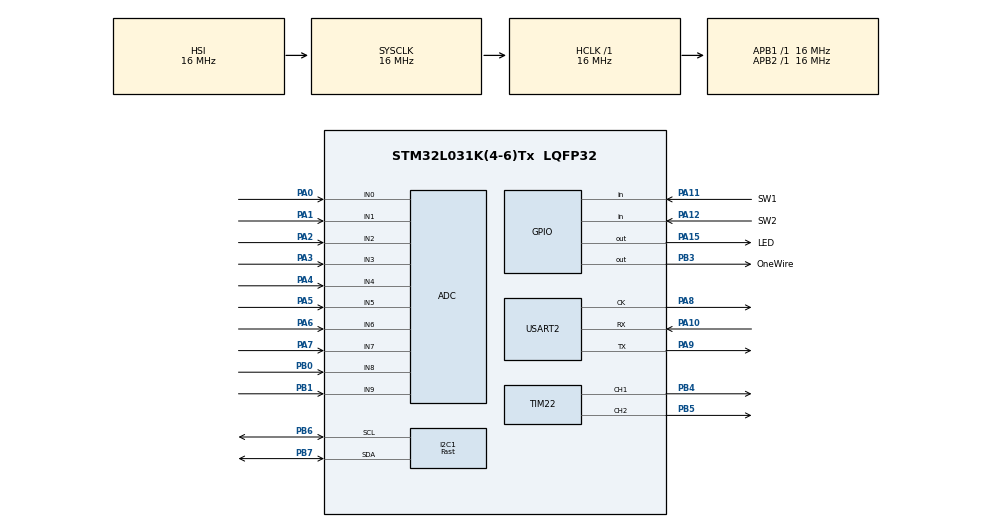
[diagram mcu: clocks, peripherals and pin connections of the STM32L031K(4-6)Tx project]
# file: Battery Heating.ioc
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ADC.ClockPrescaler=ADC_CLOCK_ASYNC_DIV8
ADC.ContinuousConvMode=ENABLE
ADC.DMAContinuousRequests=ENABLE
ADC.EOCSelection=ADC_EOC_SEQ_CONV
ADC.SamplingTime=ADC_SAMPLETIME_79CYCLES_5
Dma.ADC.0.Direction=DMA_PERIPH_TO_MEMORY
Dma.ADC.0.Instance=DMA1_Channel1
Dma.ADC.0.MemDataAlignment=DMA_MDATAALIGN_HALFWORD
Dma.ADC.0.MemInc=DMA_MINC_ENABLE
Dma.ADC.0.Mode=DMA_CIRCULAR
Dma.ADC.0.PeriphDataAlignment=DMA_PDATAALIGN_HALFWORD
Dma.ADC.0.PeriphInc=DMA_PINC_DISABLE
Dma.ADC.0.Priority=DMA_PRIORITY_LOW
Dma.Request0=ADC
I2C1.I2C_Speed_Mode=I2C_Fast
I2C1.OwnAddress=0x30
I2C1.Speed=300
I2C1.Timing=0x00300625
Mcu.Family=STM32L0
Mcu.Name=STM32L031K(4-6)Tx
Mcu.Package=LQFP32
NVIC.DMA1_Channel1_IRQn=true\:0\:0\:false\:false\:true\:false\:true\:true
NVIC.I2C1_IRQn=true\:0\:0\:false\:false\:true\:true\:true\:true
PA0-CK_IN.Mode=IN0
PA0-CK_IN.Signal=ADC_IN0
PA1.Mode=IN1
PA1.Signal=ADC_IN1
PA10.Mode=Synchronous
PA10.Signal=USART2_RX
PA11.GPIO_Label=SW1
PA11.Signal=GPIO_Input
PA12.GPIO_Label=SW2
PA12.Signal=GPIO_Input
PA13.Mode=Serial_Wire
PA13.Signal=SYS_SWDIO
PA14.Mode=Serial_Wire
PA14.Signal=SYS_SWCLK
PA15.GPIO_Label=LED
PA15.Signal=GPIO_Output
PA2.Mode=IN2
PA2.Signal=ADC_IN2
PA3.Mode=IN3
PA3.Signal=ADC_IN3
PA4.Mode=IN4
PA4.Signal=ADC_IN4
PA5.Mode=IN5
PA5.Signal=ADC_IN5
PA6.Mode=IN6
PA6.Signal=ADC_IN6
PA7.Mode=IN7
PA7.Signal=ADC_IN7
PA8.Mode=Synchronous
PA8.Signal=USART2_CK
PA9.Mode=Synchronous
PA9.Signal=USART2_TX
PB0.Mode=IN8
PB0.Signal=ADC_IN8
PB1.Mode=IN9
PB1.Signal=ADC_IN9
PB3.GPIO_Label=OneWire
PB3.Signal=GPIO_Output
PB4.Signal=S_TIM22_CH1
PB5.Signal=S_TIM22_CH2
PB6.Mode=I2C
PB6.Signal=I2C1_SCL
PB7.Mode=I2C
PB7.Signal=I2C1_SDA
ProjectManager.HeapSize=0x200
ProjectManager.StackSize=0x400
ProjectManager.TargetToolchain=Makefile
RCC.AHBFreq_Value=16000000
RCC.APB1Freq_Value=16000000
RCC.APB1TimFreq_Value=16000000
RCC.APB2Freq_Value=16000000
RCC.APB2TimFreq_Value=16000000
RCC.HCLKFreq_Value=16000000
RCC.HSE_VALUE=8000000
RCC.HSI16_VALUE=16000000
RCC.HSI_VALUE=16000000
RCC.LSE_VALUE=32768
RCC.MSI_VALUE=2097000
RCC.SYSCLKFreq_VALUE=16000000
RCC.SYSCLKSource=RCC_SYSCLKSOURCE_HSI
RCC.VCOOutputFreq_Value=48000000
SH.S_TIM22_CH1.0=TIM22_CH1,PWM Generation1 CH1
SH.S_TIM22_CH2.0=TIM22_CH2,PWM Generation2 CH2
TIM22.Channel-PWM\ Generation1\ CH1=TIM_CHANNEL_1
TIM22.Channel-PWM\ Generation2\ CH2=TIM_CHANNEL_2
USART2.VirtualMode-Synchronous=VM_SYNC
VP_ADC_TempSens_Input.Mode=IN-TempSens
VP_TIM22_VS_ClockSourceINT.Mode=Internal
board=custom

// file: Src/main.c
/* USER CODE BEGIN Header */
/**
  ******************************************************************************
  * @file           : main.c
  * @brief          : Main program body
  ******************************************************************************
  * @attention
  *
  * Copyright (c) 2025 STMicroelectronics.
  * All rights reserved.
  *
  * This software is licensed under terms that can be found in the LICENSE file
  * in the root directory of this software component.
  * If no LICENSE file comes with this software, it is provided AS-IS.
  *
  ******************************************************************************
  */
/* USER CODE END Header */
#include "main.h"

/* USER CODE BEGIN Includes */

#include <stdio.h>
#include <stdint.h>

//#include "serial.h"

/* USER CODE END Includes */

/* USER CODE BEGIN PD */

/* Definition of ADCx conversions data table size */
#define ADC_CONVERTED_DATA_BUFFER_SIZE   ((uint32_t)  11)   /* Size of array aADCxConvertedData[] */
#define SUPPLY_VOLTAGE 3.3  //voltage supplied to the adc (used in calculations)
#define ADC_RESOLUTION 4096 //adc resolution (max value of a 12b number)

#define COUNTOF(__BUFFER__)   (sizeof(__BUFFER__) / sizeof(*(__BUFFER__)))
/* Size of Transmission buffer */
#define TXBUFFERSIZE                      (COUNTOF(aTxBuffer))
/* Size of Reception buffer */
#define RXBUFFERSIZE                      TXBUFFERSIZE

/* USER CODE END Includes */
/* USER CODE END PD */

ADC_HandleTypeDef hadc;
DMA_HandleTypeDef hdma_adc;

I2C_HandleTypeDef hi2c1;

TIM_HandleTypeDef htim22;

USART_HandleTypeDef husart2;

/* USER CODE BEGIN PV */

//max value the output pmw is clamped to (change the number after the * to set as a percentage of 100% duty cycle)
uint16_t max_pwm_value = (uint16_t)65535*0.5;

//uint16_t i = 0;

//temperature threshold for heating
float tempThres = 30.0;

/* Variable containing ADC conversions data */
static uint16_t   aADCxConvertedData[ADC_CONVERTED_DATA_BUFFER_SIZE];

uint8_t count = 0;

/* Buffer used for transmission */
uint8_t aTxBuffer[4];

/* Buffer used for reception */
uint8_t aRxBuffer[4];

// buffer for requested memory address
uint8_t memRequest = 0;

/* USER CODE END PV */

void SystemClock_Config(void);
static void MX_GPIO_Init(void);
static void MX_DMA_Init(void);
static void MX_ADC_Init(void);
static void MX_I2C1_Init(void);
static void MX_TIM22_Init(void);
static void MX_USART2_Init(void);
/* USER CODE BEGIN PFP */

void active() {
  HAL_GPIO_WritePin(LED_GPIO_Port, LED_Pin, GPIO_PIN_SET);
}
void inactive() {
  HAL_GPIO_WritePin(LED_GPIO_Port, LED_Pin, GPIO_PIN_RESET);
}

//needed to get printf working (redirects subfunction to send char* to UART)
#define PUTCHAR_PROTOTYPE int __io_putchar(int ch)

//Clamp function
int max_pwm(uint16_t input) {
  if (input >= max_pwm_value) {
    input = max_pwm_value;
  }
  return input;
}

//map for future use
long map(long x, long in_min, long in_max, long out_min, long out_max) {
  return (x - in_min) * (out_max - out_min) / (in_max - in_min) + out_min;
}

// === TEMP FUNCTIONS
//conversion function (adc reading -> voltage float)
float adcToVoltage(uint16_t reading) {
  return reading * SUPPLY_VOLTAGE / ADC_RESOLUTION;
}

//conversion function for MCP9700T (voltage float -> temperature)
float voltageToMCP(float volt) {
  return (volt-0.5)/0.01;
}

// === I2C FUNCTIONS
__IO uint32_t     Transfer_Direction = 0;
__IO uint32_t     Xfer_Complete = 0;

/* Buffer used for transmission */
uint8_t aTxBuffer[4];

/* Buffer used for reception */
uint8_t aRxBuffer[4];

/* USER CODE END PFP */

/* USER CODE BEGIN 0 */

//define for adc error (dont think its needed)
void HAL_ADC_ErrorCallback(ADC_HandleTypeDef *hadc) {
  printf("ADC Experienced an error :(");
}

/* USER CODE END 0 */

int main(void)
{

  /* MCU Configuration--------------------------------------------------------*/

  /* Reset of all peripherals, Initializes the Flash interface and the Systick. */
  HAL_Init();

  /* USER CODE BEGIN Init */
  aRxBuffer[0]=0x00;
  aRxBuffer[1]=0x00;
  aRxBuffer[2]=0x00;
  aRxBuffer[3]=0x00;
  aTxBuffer[0]=0xAA;
  aTxBuffer[1]=0xBB;
  aTxBuffer[2]=0xCC;
  aTxBuffer[3]=0xDD;
  /* USER CODE END Init */

  /* Configure the system clock */
  SystemClock_Config();

  /* Initialize all configured peripherals */
  MX_GPIO_Init();
  MX_DMA_Init();
  MX_ADC_Init();
  MX_I2C1_Init();
  MX_TIM22_Init();
  MX_USART2_Init();
  /* USER CODE BEGIN 2 */

  active();

  //start the ADC/DMA cycle
  if (HAL_ADC_Start_DMA(&hadc,
                        (uint32_t *)aADCxConvertedData,
                        ADC_CONVERTED_DATA_BUFFER_SIZE
                        ) != HAL_OK)
  {
    Error_Handler();
  }

  // I2C start listening
  if(HAL_I2C_EnableListen_IT(&hi2c1) != HAL_OK)
  {
    /* Transfer error in reception process */
    Error_Handler();
  }

  // Init pwm
  HAL_TIM_PWM_Init(&htim22);

  // Start PWM generation on both channels
  HAL_TIM_PWM_Start(&htim22, TIM_CHANNEL_1);
  HAL_TIM_PWM_Start(&htim22, TIM_CHANNEL_2);

  // Set initial duty cycles
  // __HAL_TIM_SET_COMPARE(&htim22, TIM_CHANNEL_1, 0);
  // __HAL_TIM_SET_COMPARE(&htim22, TIM_CHANNEL_2, 65535);

  inactive();

  /* USER CODE END 2 */

  /* Infinite loop */
  while (1)
  {

    /* USER CODE BEGIN 3 */

    active();

    //clear screen (only works on linux)
    // printf("\033[2J");

    if (Xfer_Complete ==1)
    {
      HAL_Delay(1);
      /*##- Put I2C peripheral in listen mode process ###########################*/
      if(HAL_I2C_EnableListen_IT(&hi2c1) != HAL_OK)
      {
        /* Transfer error in reception process */
        Error_Handler();
      }
      Xfer_Complete =0;
    }

    /*
    for (uint8_t i = 0; i < ADC_CONVERTED_DATA_BUFFER_SIZE; i++) {
      printf("Reading (%d): %d \n", i, aADCxConvertedData[i]);
      printf("Voltage: %d mV \n", (uint16_t)(adcToVoltage(aADCxConvertedData[i])*1000));
    }
    */

    //convert ADC buffer to temperatures
    float temp1 = voltageToMCP(adcToVoltage(aADCxConvertedData[4]));
    float temp2 = voltageToMCP(adcToVoltage(aADCxConvertedData[5]));
    float temp3 = voltageToMCP(adcToVoltage(aADCxConvertedData[6]));

    //average out temperature
    float tempAve = (temp1+temp2+temp3)/3;

    //print ave
    // printf("Temp average: %d °C\n", (uint16_t)tempAve);

    //very basic bang bang algo
    if (tempAve <= tempThres) {
      // printf("Heater ON\n");
      __HAL_TIM_SET_COMPARE(&htim22, TIM_CHANNEL_1, max_pwm_value);
      __HAL_TIM_SET_COMPARE(&htim22, TIM_CHANNEL_2, max_pwm_value);
    } else {
      __HAL_TIM_SET_COMPARE(&htim22, TIM_CHANNEL_1, 0);
      __HAL_TIM_SET_COMPARE(&htim22, TIM_CHANNEL_2, 0);
    }

    //printf("Looped i=%d\n", i);

    //i += 100;

    inactive();
    //HAL_Delay(100);
  }
  /* USER CODE END 3 */
}

void SystemClock_Config(void)
{
  RCC_OscInitTypeDef RCC_OscInitStruct = {0};
  RCC_ClkInitTypeDef RCC_ClkInitStruct = {0};
  RCC_PeriphCLKInitTypeDef PeriphClkInit = {0};

  /** Configure the main internal regulator output voltage
  */
  __HAL_PWR_VOLTAGESCALING_CONFIG(PWR_REGULATOR_VOLTAGE_SCALE1);

  /** Initializes the RCC Oscillators according to the specified parameters
  * in the RCC_OscInitTypeDef structure.
  */
  RCC_OscInitStruct.OscillatorType = RCC_OSCILLATORTYPE_HSI;
  RCC_OscInitStruct.HSIState = RCC_HSI_ON;
  RCC_OscInitStruct.HSICalibrationValue = RCC_HSICALIBRATION_DEFAULT;
  RCC_OscInitStruct.PLL.PLLState = RCC_PLL_NONE;
  if (HAL_RCC_OscConfig(&RCC_OscInitStruct) != HAL_OK)
  {
    Error_Handler();
  }

  /** Initializes the CPU, AHB and APB buses clocks
  */
  RCC_ClkInitStruct.ClockType = RCC_CLOCKTYPE_HCLK|RCC_CLOCKTYPE_SYSCLK
                              |RCC_CLOCKTYPE_PCLK1|RCC_CLOCKTYPE_PCLK2;
  RCC_ClkInitStruct.SYSCLKSource = RCC_SYSCLKSOURCE_HSI;
  RCC_ClkInitStruct.AHBCLKDivider = RCC_SYSCLK_DIV1;
  RCC_ClkInitStruct.APB1CLKDivider = RCC_HCLK_DIV1;
  RCC_ClkInitStruct.APB2CLKDivider = RCC_HCLK_DIV1;

  if (HAL_RCC_ClockConfig(&RCC_ClkInitStruct, FLASH_LATENCY_0) != HAL_OK)
  {
    Error_Handler();
  }
  PeriphClkInit.PeriphClockSelection = RCC_PERIPHCLK_USART2|RCC_PERIPHCLK_I2C1;
  PeriphClkInit.Usart2ClockSelection = RCC_USART2CLKSOURCE_PCLK1;
  PeriphClkInit.I2c1ClockSelection = RCC_I2C1CLKSOURCE_PCLK1;
  if (HAL_RCCEx_PeriphCLKConfig(&PeriphClkInit) != HAL_OK)
  {
    Error_Handler();
  }
}

static void MX_ADC_Init(void)
{

  ADC_ChannelConfTypeDef sConfig = {0};

  /** Configure the global features of the ADC (Clock, Resolution, Data Alignment and number of conversion)
  */
  hadc.Instance = ADC1;
  hadc.Init.OversamplingMode = DISABLE;
  hadc.Init.ClockPrescaler = ADC_CLOCK_ASYNC_DIV8;
  hadc.Init.Resolution = ADC_RESOLUTION_12B;
  hadc.Init.SamplingTime = ADC_SAMPLETIME_79CYCLES_5;
  hadc.Init.ScanConvMode = ADC_SCAN_DIRECTION_FORWARD;
  hadc.Init.DataAlign = ADC_DATAALIGN_RIGHT;
  hadc.Init.ContinuousConvMode = ENABLE;
  hadc.Init.DiscontinuousConvMode = DISABLE;
  hadc.Init.ExternalTrigConvEdge = ADC_EXTERNALTRIGCONVEDGE_NONE;
  hadc.Init.ExternalTrigConv = ADC_SOFTWARE_START;
  hadc.Init.DMAContinuousRequests = ENABLE;
  hadc.Init.EOCSelection = ADC_EOC_SEQ_CONV;
  hadc.Init.Overrun = ADC_OVR_DATA_PRESERVED;
  hadc.Init.LowPowerAutoWait = DISABLE;
  hadc.Init.LowPowerFrequencyMode = ENABLE;
  hadc.Init.LowPowerAutoPowerOff = DISABLE;
  if (HAL_ADC_Init(&hadc) != HAL_OK)
  {
    Error_Handler();
  }

  /** Configure for the selected ADC regular channel to be converted.
  */
  sConfig.Channel = ADC_CHANNEL_0;
  sConfig.Rank = ADC_RANK_CHANNEL_NUMBER;
  if (HAL_ADC_ConfigChannel(&hadc, &sConfig) != HAL_OK)
  {
    Error_Handler();
  }

  /** Configure for the selected ADC regular channel to be converted.
  */
  sConfig.Channel = ADC_CHANNEL_1;
  if (HAL_ADC_ConfigChannel(&hadc, &sConfig) != HAL_OK)
  {
    Error_Handler();
  }

  /** Configure for the selected ADC regular channel to be converted.
  */
  sConfig.Channel = ADC_CHANNEL_2;
  if (HAL_ADC_ConfigChannel(&hadc, &sConfig) != HAL_OK)
  {
    Error_Handler();
  }

  /** Configure for the selected ADC regular channel to be converted.
  */
  sConfig.Channel = ADC_CHANNEL_3;
  if (HAL_ADC_ConfigChannel(&hadc, &sConfig) != HAL_OK)
  {
    Error_Handler();
  }

  /** Configure for the selected ADC regular channel to be converted.
  */
  sConfig.Channel = ADC_CHANNEL_4;
  if (HAL_ADC_ConfigChannel(&hadc, &sConfig) != HAL_OK)
  {
    Error_Handler();
  }

  /** Configure for the selected ADC regular channel to be converted.
  */
  sConfig.Channel = ADC_CHANNEL_5;
  if (HAL_ADC_ConfigChannel(&hadc, &sConfig) != HAL_OK)
  {
    Error_Handler();
  }

  /** Configure for the selected ADC regular channel to be converted.
  */
  sConfig.Channel = ADC_CHANNEL_6;
  if (HAL_ADC_ConfigChannel(&hadc, &sConfig) != HAL_OK)
  {
    Error_Handler();
  }

  /** Configure for the selected ADC regular channel to be converted.
  */
  sConfig.Channel = ADC_CHANNEL_7;
  if (HAL_ADC_ConfigChannel(&hadc, &sConfig) != HAL_OK)
  {
    Error_Handler();
  }

  /** Configure for the selected ADC regular channel to be converted.
  */
  sConfig.Channel = ADC_CHANNEL_8;
  if (HAL_ADC_ConfigChannel(&hadc, &sConfig) != HAL_OK)
  {
    Error_Handler();
  }

  /** Configure for the selected ADC regular channel to be converted.
  */
  sConfig.Channel = ADC_CHANNEL_9;
  if (HAL_ADC_ConfigChannel(&hadc, &sConfig) != HAL_OK)
  {
    Error_Handler();
  }

  /** Configure for the selected ADC regular channel to be converted.
  */
  sConfig.Channel = ADC_CHANNEL_TEMPSENSOR;
  if (HAL_ADC_ConfigChannel(&hadc, &sConfig) != HAL_OK)
  {
    Error_Handler();
  }

}

static void MX_I2C1_Init(void)
{

  hi2c1.Instance = I2C1;
  hi2c1.Init.Timing = 0x00300625;
  hi2c1.Init.OwnAddress1 = 96;
  hi2c1.Init.AddressingMode = I2C_ADDRESSINGMODE_7BIT;
  hi2c1.Init.DualAddressMode = I2C_DUALADDRESS_DISABLE;
  hi2c1.Init.OwnAddress2 = 0;
  hi2c1.Init.OwnAddress2Masks = I2C_OA2_NOMASK;
  hi2c1.Init.GeneralCallMode = I2C_GENERALCALL_DISABLE;
  hi2c1.Init.NoStretchMode = I2C_NOSTRETCH_DISABLE;
  if (HAL_I2C_Init(&hi2c1) != HAL_OK)
  {
    Error_Handler();
  }

  /** Configure Analogue filter
  */
  if (HAL_I2CEx_ConfigAnalogFilter(&hi2c1, I2C_ANALOGFILTER_ENABLE) != HAL_OK)
  {
    Error_Handler();
  }

  /** Configure Digital filter
  */
  if (HAL_I2CEx_ConfigDigitalFilter(&hi2c1, 0) != HAL_OK)
  {
    Error_Handler();
  }

}

static void MX_TIM22_Init(void)
{

  TIM_ClockConfigTypeDef sClockSourceConfig = {0};
  TIM_MasterConfigTypeDef sMasterConfig = {0};
  TIM_OC_InitTypeDef sConfigOC = {0};

  htim22.Instance = TIM22;
  htim22.Init.Prescaler = 0;
  htim22.Init.CounterMode = TIM_COUNTERMODE_UP;
  htim22.Init.Period = 65535;
  htim22.Init.ClockDivision = TIM_CLOCKDIVISION_DIV1;
  htim22.Init.AutoReloadPreload = TIM_AUTORELOAD_PRELOAD_DISABLE;
  if (HAL_TIM_Base_Init(&htim22) != HAL_OK)
  {
    Error_Handler();
  }
  sClockSourceConfig.ClockSource = TIM_CLOCKSOURCE_INTERNAL;
  if (HAL_TIM_ConfigClockSource(&htim22, &sClockSourceConfig) != HAL_OK)
  {
    Error_Handler();
  }
  if (HAL_TIM_PWM_Init(&htim22) != HAL_OK)
  {
    Error_Handler();
  }
  sMasterConfig.MasterOutputTrigger = TIM_TRGO_RESET;
  sMasterConfig.MasterSlaveMode = TIM_MASTERSLAVEMODE_DISABLE;
  if (HAL_TIMEx_MasterConfigSynchronization(&htim22, &sMasterConfig) != HAL_OK)
  {
    Error_Handler();
  }
  sConfigOC.OCMode = TIM_OCMODE_PWM1;
  sConfigOC.Pulse = 0;
  sConfigOC.OCPolarity = TIM_OCPOLARITY_HIGH;
  sConfigOC.OCFastMode = TIM_OCFAST_DISABLE;
  if (HAL_TIM_PWM_ConfigChannel(&htim22, &sConfigOC, TIM_CHANNEL_1) != HAL_OK)
  {
    Error_Handler();
  }
  if (HAL_TIM_PWM_ConfigChannel(&htim22, &sConfigOC, TIM_CHANNEL_2) != HAL_OK)
  {
    Error_Handler();
  }
  HAL_TIM_MspPostInit(&htim22);

}

static void MX_USART2_Init(void)
{

  husart2.Instance = USART2;
  husart2.Init.BaudRate = 115200;
  husart2.Init.WordLength = USART_WORDLENGTH_8B;
  husart2.Init.StopBits = USART_STOPBITS_1;
  husart2.Init.Parity = USART_PARITY_NONE;
  husart2.Init.Mode = USART_MODE_TX_RX;
  husart2.Init.CLKPolarity = USART_POLARITY_LOW;
  husart2.Init.CLKPhase = USART_PHASE_1EDGE;
  husart2.Init.CLKLastBit = USART_LASTBIT_DISABLE;
  if (HAL_USART_Init(&husart2) != HAL_OK)
  {
    Error_Handler();
  }

}

static void MX_DMA_Init(void)
{

  /* DMA controller clock enable */
  __HAL_RCC_DMA1_CLK_ENABLE();

  /* DMA interrupt init */
  /* DMA1_Channel1_IRQn interrupt configuration */
  HAL_NVIC_SetPriority(DMA1_Channel1_IRQn, 0, 0);
  HAL_NVIC_EnableIRQ(DMA1_Channel1_IRQn);

}

static void MX_GPIO_Init(void)
{
  GPIO_InitTypeDef GPIO_InitStruct = {0};

  /* GPIO Ports Clock Enable */
  __HAL_RCC_GPIOA_CLK_ENABLE();
  __HAL_RCC_GPIOB_CLK_ENABLE();

  /*Configure GPIO pin Output Level */
  HAL_GPIO_WritePin(LED_GPIO_Port, LED_Pin, GPIO_PIN_RESET);

  /*Configure GPIO pin Output Level */
  HAL_GPIO_WritePin(OneWire_GPIO_Port, OneWire_Pin, GPIO_PIN_RESET);

  /*Configure GPIO pins : SW1_Pin SW2_Pin */
  GPIO_InitStruct.Pin = SW1_Pin|SW2_Pin;
  GPIO_InitStruct.Mode = GPIO_MODE_INPUT;
  GPIO_InitStruct.Pull = GPIO_NOPULL;
  HAL_GPIO_Init(GPIOA, &GPIO_InitStruct);

  /*Configure GPIO pin : LED_Pin */
  GPIO_InitStruct.Pin = LED_Pin;
  GPIO_InitStruct.Mode = GPIO_MODE_OUTPUT_PP;
  GPIO_InitStruct.Pull = GPIO_NOPULL;
  GPIO_InitStruct.Speed = GPIO_SPEED_FREQ_LOW;
  HAL_GPIO_Init(LED_GPIO_Port, &GPIO_InitStruct);

  /*Configure GPIO pin : OneWire_Pin */
  GPIO_InitStruct.Pin = OneWire_Pin;
  GPIO_InitStruct.Mode = GPIO_MODE_OUTPUT_PP;
  GPIO_InitStruct.Pull = GPIO_NOPULL;
  GPIO_InitStruct.Speed = GPIO_SPEED_FREQ_LOW;
  HAL_GPIO_Init(OneWire_GPIO_Port, &GPIO_InitStruct);

}

/* USER CODE BEGIN 4 */
/**
  * @brief  Retargets the C library printf function to the USART.
  *   None
  * @retval None
  */
PUTCHAR_PROTOTYPE
{
  /* Place your implementation of fputc here */
  /* e.g. write a charact er to the USART1 and Loop until the end of transmission */
  HAL_USART_Transmit(&husart2, (uint8_t *)&ch, 1, 0xFFFF);

  return ch;
}

/**
  * @brief  Tx Transfer completed callback.
  *   I2cHandle: I2C handle.
  * @note   This example shows a simple way to report end of IT Tx transfer, and
  *         you can add your own implementation.
  * @retval None
  */

void HAL_I2C_SlaveTxCpltCallback(I2C_HandleTypeDef *I2cHandle)
{
  printf("Transmitted: %d %d %d %d \n", aTxBuffer[0], aTxBuffer[1], aTxBuffer[2], aTxBuffer[3]);
  Xfer_Complete = 1;
  aTxBuffer[0]++;
  aTxBuffer[1]++;
  aTxBuffer[2]++;
  aTxBuffer[3]++;

}

/**
  * @brief  Rx Transfer completed callback.
  *   I2cHandle: I2C handle
  * @note   This example shows a simple way to report end of IT Rx transfer, and
  *         you can add your own implementation.
  * @retval None
  */
void HAL_I2C_SlaveRxCpltCallback(I2C_HandleTypeDef *I2cHandle)
{
  printf("recieved: %d %d %d %d \n", aRxBuffer[0], aRxBuffer[1], aRxBuffer[2], aRxBuffer[3]);
  Xfer_Complete = 1;
  // aRxBuffer[0]=0x00;
  // aRxBuffer[1]=0x00;
  // aRxBuffer[2]=0x00;
  // aRxBuffer[3]=0x00;
}

/**
  * @brief  Slave Address Match callback.
  *   hi2c Pointer to a I2C_HandleTypeDef structure that contains
  *                the configuration information for the specified I2C.
  *   TransferDirection: Master request Transfer Direction (Write/Read), value of @ref I2C_XferOptions_definition
  *   AddrMatchCode: Address Match Code
  * @retval None
  */
// This function is called when the address on the i2c bus matches this devices
// Keep printfs out of this function, it will slow down, instead print in SlaveRxCpltCallback RX/TX
void HAL_I2C_AddrCallback(I2C_HandleTypeDef *hi2c, uint8_t TransferDirection, uint16_t AddrMatchCode)
{
  // printf("Address match code: %d\n", AddrMatchCode); //this is just what the devices address is (left shifted by one aswell)
  Transfer_Direction = TransferDirection;
  printf("Transfer Direction: %d \n", Transfer_Direction);
  if (Transfer_Direction != 0)
  {
    /*##- Start the transmission process #####################################*/
    /* While the I2C in reception process, user can transmit data through "aTxBuffer" buffer */
    if (HAL_I2C_Slave_Seq_Transmit_IT(&hi2c1, (uint8_t *)aTxBuffer, TXBUFFERSIZE, I2C_FIRST_AND_LAST_FRAME) != HAL_OK)
    {
    /* Transfer error in transmission process */
    Error_Handler();
    }
  }
  else
  {
    /*##- Put I2C peripheral in reception process ###########################*/
    HAL_I2C_Slave_Receive_IT(&hi2c1, &memRequest, 1);
    if (HAL_I2C_Slave_Seq_Receive_IT(&hi2c1, (uint8_t *)aRxBuffer, RXBUFFERSIZE, I2C_FIRST_AND_LAST_FRAME) != HAL_OK)
    {
      /* Transfer error in reception process */
      Error_Handler();
    }
    // printf("recieved: %d %d %d %d \n", aRxBuffer[0], aRxBuffer[1], aRxBuffer[2], aRxBuffer[3]);
  }

  printf("Address requested was: %d \n", memRequest);
}

/**
  * @brief  Listen Complete callback.
  *   hi2c Pointer to a I2C_HandleTypeDef structure that contains
  *                the configuration information for the specified I2C.
  * @retval None
  */
void HAL_I2C_ListenCpltCallback(I2C_HandleTypeDef *hi2c)
{
}

/**
  * @brief  I2C error callbacks.
  *   I2cHandle: I2C handle
  * @note   This example shows a simple way to report transfer error, and you can
  *         add your own implementation.
  * @retval None
  */
void HAL_I2C_ErrorCallback(I2C_HandleTypeDef *I2cHandle)
{
  /** Error_Handler() function is called when error occurs.
    * 1- When Slave doesn't acknowledge its address, Master restarts communication.
    * 2- When Master doesn't acknowledge the last data transferred, Slave doesn't care in this example.
    */
  if (HAL_I2C_GetError(I2cHandle) != HAL_I2C_ERROR_AF)
  {
    printf("I2C ERROR :(\n");
    // Error_Handler();
  }
}

/* USER CODE END 4 */

void Error_Handler(void)
{
  __disable_irq();
  while (1)
  {
  }
}
